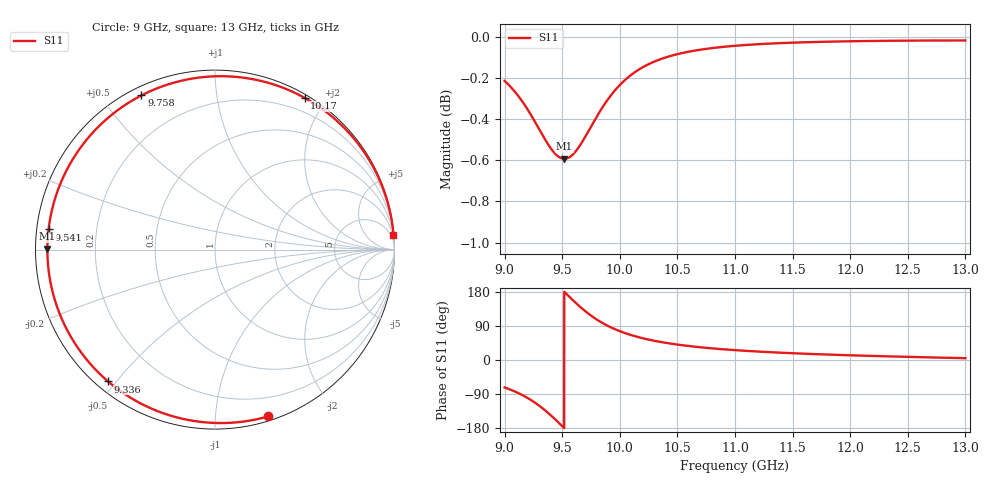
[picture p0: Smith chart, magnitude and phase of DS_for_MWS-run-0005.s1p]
! TOUCHSTONE file generated by CST DESIGN STUDIO
! Date and time: Tue Feb  4 15:46:08 2025
! Project name: C:\Work\MatlabApps\UnitCellOptimizationMatlab\CST\unitcell.cst
! Tree item: Tasks\Sweep1\SPara1\S-Parameters
! Header version: 2024
! Port assignment regex: !\s*Touchstone port\s*([0-9]+)\s*=\s*(CST MWS port|CST DES external port|CST DES block port)\s*(.+)\s* \(\"(.*)\"\)(\s*mode\s*([0-9]+))?.*
! Touchstone port assignment:
! Touchstone port 1 = CST DES external port 1 ("")
# GHz S MA R 50
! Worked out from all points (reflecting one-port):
!   4001 points, 9 GHz to 13 GHz, reference 50 ohm
!   lowest |S11| = -0.6 dB at 9.519 GHz (marker M1), VSWR 29.30, Z = 1.71 + j0.132 ohm
!   phase of S11 starts at -72 deg and turns -283 deg over the sweep
!   S11 on the Smith chart (normalised r, x): 9 GHz: 0.04, -1.37; 9.336 GHz: 0.03, -0.48; 9.541 GHz: 0.03, +0.06; 9.758 GHz: 0.03, +0.63; 10.17 GHz: 0.04, +1.75; 13 GHz: 1, +24
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9  0.9756 -72.4
9.091  0.9696 -83.4
9.196  0.9605 -99.6
9.269  0.953 -113.7
9.336  0.9457 -129.0
9.381  0.9412 -140.5
9.427  0.9374 -153.2
9.464  0.9353 -163.9
9.5  0.9342 -174.6
9.519  0.934 179.7
9.541  0.9342 173.1
9.595  0.9364 157.2
9.655  0.9411 140.5
9.706  0.9462 127.4
9.758  0.9518 115.5
9.808  0.9571 105.3
9.863  0.9626 95.4
10  0.9734 76.1
10.083  0.9781 67.2
10.172  0.9821 59.5
10.321  0.9868 49.4
10.5  0.9903 40.7
10.722  0.993 32.9
11  0.995 26.0
11.5  0.9967 17.8
12  0.9975 12.4
12.5  0.9979 8.3
13  0.998 4.8
